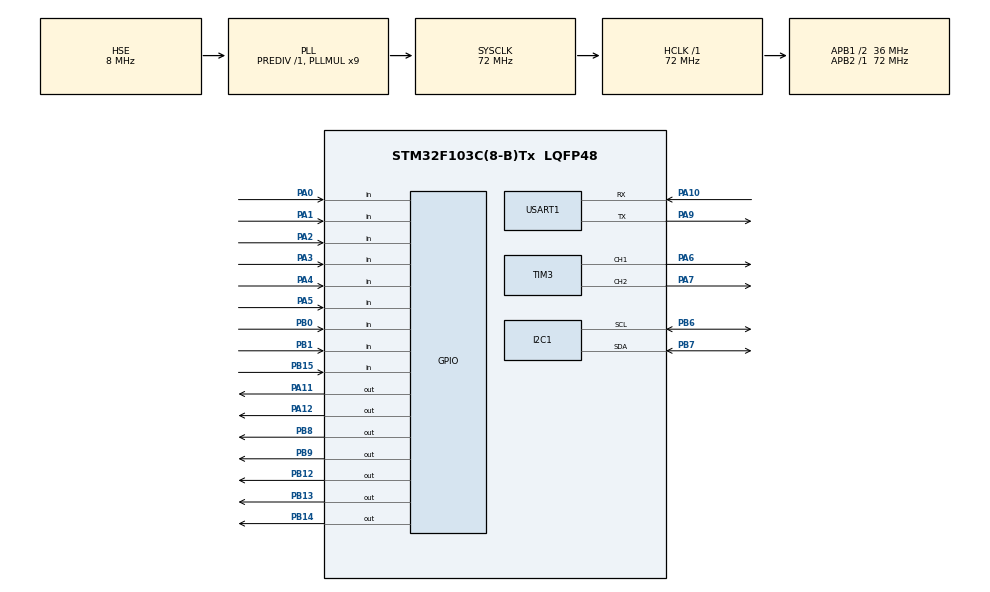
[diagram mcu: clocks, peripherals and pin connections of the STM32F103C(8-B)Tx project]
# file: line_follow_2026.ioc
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Mcu.Family=STM32F1
Mcu.Name=STM32F103C(8-B)Tx
Mcu.Package=LQFP48
NVIC.PriorityGroup=NVIC_PRIORITYGROUP_4
PA0-WKUP.Signal=GPIO_Input
PA1.Signal=GPIO_Input
PA10.Mode=Asynchronous
PA10.Signal=USART1_RX
PA11.Signal=GPIO_Output
PA12.Signal=GPIO_Output
PA13.Mode=Serial_Wire
PA13.Signal=SYS_JTMS-SWDIO
PA14.Mode=Serial_Wire
PA14.Signal=SYS_JTCK-SWCLK
PA2.Signal=GPIO_Input
PA3.Signal=GPIO_Input
PA4.Signal=GPIO_Input
PA5.Signal=GPIO_Input
PA6.Signal=S_TIM3_CH1
PA7.Signal=S_TIM3_CH2
PA9.Mode=Asynchronous
PA9.Signal=USART1_TX
PB0.Signal=GPIO_Input
PB1.Signal=GPIO_Input
PB12.Signal=GPIO_Output
PB13.Signal=GPIO_Output
PB14.Signal=GPIO_Output
PB15.Signal=GPIO_Input
PB6.Mode=I2C
PB6.Signal=I2C1_SCL
PB7.Mode=I2C
PB7.Signal=I2C1_SDA
PB8.Signal=GPIO_Output
PB9.Signal=GPIO_Output
PD0-OSC_IN.Mode=HSE-External-Oscillator
PD0-OSC_IN.Signal=RCC_OSC_IN
PD1-OSC_OUT.Mode=HSE-External-Oscillator
PD1-OSC_OUT.Signal=RCC_OSC_OUT
ProjectManager.HeapSize=0x200
ProjectManager.StackSize=0x400
ProjectManager.TargetToolchain=MDK-ARM V5
RCC.AHBFreq_Value=72000000
RCC.APB1CLKDivider=RCC_HCLK_DIV2
RCC.APB1Freq_Value=36000000
RCC.APB1TimFreq_Value=72000000
RCC.APB2Freq_Value=72000000
RCC.APB2TimFreq_Value=72000000
RCC.HCLKFreq_Value=72000000
RCC.PLLMUL=RCC_PLL_MUL9
RCC.PLLSourceVirtual=RCC_PLLSOURCE_HSE
RCC.SYSCLKFreq_VALUE=72000000
RCC.SYSCLKSource=RCC_SYSCLKSOURCE_PLLCLK
RCC.USBFreq_Value=72000000
SH.S_TIM3_CH1.0=TIM3_CH1,PWM Generation1 CH1
SH.S_TIM3_CH2.0=TIM3_CH2,PWM Generation2 CH2
TIM3.Channel-PWM\ Generation1\ CH1=TIM_CHANNEL_1
TIM3.Channel-PWM\ Generation2\ CH2=TIM_CHANNEL_2
USART1.VirtualMode=VM_ASYNC
board=custom

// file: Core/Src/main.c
/* USER CODE BEGIN Header */
/**
  ******************************************************************************
  * @file           : main.c
  * @brief          : Main program body
  ******************************************************************************
  * @attention
  *
  * Copyright (c) 2026 STMicroelectronics.
  * All rights reserved.
  *
  * This software is licensed under terms that can be found in the LICENSE file
  * in the root directory of this software component.
  * If no LICENSE file comes with this software, it is provided AS-IS.
  *
  ******************************************************************************
  */
/* USER CODE END Header */
#include "main.h"

/* USER CODE BEGIN Includes */
#include "bsp_led.h"
#include "bsp_key.h"
/* USER CODE END Includes */

I2C_HandleTypeDef hi2c1;

TIM_HandleTypeDef htim3;

UART_HandleTypeDef huart1;

void SystemClock_Config(void);
static void MX_GPIO_Init(void);
static void MX_I2C1_Init(void);
static void MX_TIM3_Init(void);
static void MX_USART1_UART_Init(void);

/* USER CODE BEGIN 0 */

typedef enum
{
  APP_LED_OFF = 0,
  APP_LED_ON,
  APP_LED_ALT
} app_led_mode_t;

static app_led_mode_t s_led_mode   = APP_LED_OFF;
static uint32_t       s_alt_start  = 0;
static uint32_t       s_alt_toggle = 0;
static uint8_t        s_alt_which  = 0;

static void App_Led_SetMode(app_led_mode_t mode)
{
  uint32_t now = HAL_GetTick();

  s_led_mode = mode;

  switch (mode)
  {
    case APP_LED_ON:
      LED_On(LED_ID_1);
      LED_Off(LED_ID_2);
      break;

    case APP_LED_ALT:
      s_alt_start  = now;
      s_alt_toggle = now;
      s_alt_which  = 0;
      LED_On(LED_ID_1);
      LED_Off(LED_ID_2);
      break;

    case APP_LED_OFF:
    default:
      LED_AllOff();
      break;
  }
}

static void App_SelfTest(void)
{
  for (uint32_t i = 0; i < SELFTEST_BLINK_TIMES; i++)
  {
    LED_On(LED_ID_1);
    LED_On(LED_ID_2);
    HAL_Delay(SELFTEST_HALF_MS);

    LED_Off(LED_ID_1);
    LED_Off(LED_ID_2);
    HAL_Delay(SELFTEST_HALF_MS);
  }
}

static void App_Led_Task(void)
{
  uint32_t now = HAL_GetTick();

  if (KEY_TakeEvent(KEY_ID_1, KEY_EVENT_CLICK))
  {
    if (s_led_mode == APP_LED_ON)
    {
      App_Led_SetMode(APP_LED_OFF);
    }
    else
    {
      App_Led_SetMode(APP_LED_ON);
    }
  }

  if (KEY_TakeEvent(KEY_ID_2, KEY_EVENT_CLICK))
  {
    App_Led_SetMode(APP_LED_ALT);
  }

  (void)KEY_TakeEvent(KEY_ID_3, KEY_EVENT_CLICK);

  if (KEY_TakeEvent(KEY_ID_4, KEY_EVENT_CLICK))
  {
    App_Led_SetMode(APP_LED_OFF);
  }

  if (s_led_mode == APP_LED_ALT)
  {
    if ((now - s_alt_start) >= (ALT_ROUND_MS * ALT_ROUNDS))
    {
      App_Led_SetMode(APP_LED_OFF);
      return;
    }

    if ((now - s_alt_toggle) >= ALT_HALF_MS)
    {
      s_alt_toggle = now;
      s_alt_which ^= 1u;

      if (s_alt_which)
      {
        LED_Off(LED_ID_1);
        LED_On(LED_ID_2);
      }
      else
      {
        LED_On(LED_ID_1);
        LED_Off(LED_ID_2);
      }
    }
  }
}

/* USER CODE END 0 */

int main(void)
{

  /* MCU Configuration--------------------------------------------------------*/

  /* Reset of all peripherals, Initializes the Flash interface and the Systick. */
  HAL_Init();

  /* Configure the system clock */
  SystemClock_Config();

  /* Initialize all configured peripherals */
  MX_GPIO_Init();
  MX_I2C1_Init();
  MX_TIM3_Init();
  MX_USART1_UART_Init();
  /* USER CODE BEGIN 2 */
  LED_Init();
  KEY_Init();
  App_SelfTest();
  /* USER CODE END 2 */

  /* Infinite loop */
  while (1)
  {

    /* USER CODE BEGIN 3 */
    KEY_Scan();
    App_Led_Task();
  }
  /* USER CODE END 3 */
}

void SystemClock_Config(void)
{
  RCC_OscInitTypeDef RCC_OscInitStruct = {0};
  RCC_ClkInitTypeDef RCC_ClkInitStruct = {0};

  /** Initializes the RCC Oscillators according to the specified parameters
  * in the RCC_OscInitTypeDef structure.
  */
  RCC_OscInitStruct.OscillatorType = RCC_OSCILLATORTYPE_HSE;
  RCC_OscInitStruct.HSEState = RCC_HSE_ON;
  RCC_OscInitStruct.HSEPredivValue = RCC_HSE_PREDIV_DIV1;
  RCC_OscInitStruct.HSIState = RCC_HSI_ON;
  RCC_OscInitStruct.PLL.PLLState = RCC_PLL_ON;
  RCC_OscInitStruct.PLL.PLLSource = RCC_PLLSOURCE_HSE;
  RCC_OscInitStruct.PLL.PLLMUL = RCC_PLL_MUL9;
  if (HAL_RCC_OscConfig(&RCC_OscInitStruct) != HAL_OK)
  {
    Error_Handler();
  }

  /** Initializes the CPU, AHB and APB buses clocks
  */
  RCC_ClkInitStruct.ClockType = RCC_CLOCKTYPE_HCLK|RCC_CLOCKTYPE_SYSCLK
                              |RCC_CLOCKTYPE_PCLK1|RCC_CLOCKTYPE_PCLK2;
  RCC_ClkInitStruct.SYSCLKSource = RCC_SYSCLKSOURCE_PLLCLK;
  RCC_ClkInitStruct.AHBCLKDivider = RCC_SYSCLK_DIV1;
  RCC_ClkInitStruct.APB1CLKDivider = RCC_HCLK_DIV2;
  RCC_ClkInitStruct.APB2CLKDivider = RCC_HCLK_DIV1;

  if (HAL_RCC_ClockConfig(&RCC_ClkInitStruct, FLASH_LATENCY_2) != HAL_OK)
  {
    Error_Handler();
  }
}

static void MX_I2C1_Init(void)
{

  hi2c1.Instance = I2C1;
  hi2c1.Init.ClockSpeed = 100000;
  hi2c1.Init.DutyCycle = I2C_DUTYCYCLE_2;
  hi2c1.Init.OwnAddress1 = 0;
  hi2c1.Init.AddressingMode = I2C_ADDRESSINGMODE_7BIT;
  hi2c1.Init.DualAddressMode = I2C_DUALADDRESS_DISABLE;
  hi2c1.Init.OwnAddress2 = 0;
  hi2c1.Init.GeneralCallMode = I2C_GENERALCALL_DISABLE;
  hi2c1.Init.NoStretchMode = I2C_NOSTRETCH_DISABLE;
  if (HAL_I2C_Init(&hi2c1) != HAL_OK)
  {
    Error_Handler();
  }

}

static void MX_TIM3_Init(void)
{

  TIM_MasterConfigTypeDef sMasterConfig = {0};
  TIM_OC_InitTypeDef sConfigOC = {0};

  htim3.Instance = TIM3;
  htim3.Init.Prescaler = 0;
  htim3.Init.CounterMode = TIM_COUNTERMODE_UP;
  htim3.Init.Period = 65535;
  htim3.Init.ClockDivision = TIM_CLOCKDIVISION_DIV1;
  htim3.Init.AutoReloadPreload = TIM_AUTORELOAD_PRELOAD_DISABLE;
  if (HAL_TIM_PWM_Init(&htim3) != HAL_OK)
  {
    Error_Handler();
  }
  sMasterConfig.MasterOutputTrigger = TIM_TRGO_RESET;
  sMasterConfig.MasterSlaveMode = TIM_MASTERSLAVEMODE_DISABLE;
  if (HAL_TIMEx_MasterConfigSynchronization(&htim3, &sMasterConfig) != HAL_OK)
  {
    Error_Handler();
  }
  sConfigOC.OCMode = TIM_OCMODE_PWM1;
  sConfigOC.Pulse = 0;
  sConfigOC.OCPolarity = TIM_OCPOLARITY_HIGH;
  sConfigOC.OCFastMode = TIM_OCFAST_DISABLE;
  if (HAL_TIM_PWM_ConfigChannel(&htim3, &sConfigOC, TIM_CHANNEL_1) != HAL_OK)
  {
    Error_Handler();
  }
  if (HAL_TIM_PWM_ConfigChannel(&htim3, &sConfigOC, TIM_CHANNEL_2) != HAL_OK)
  {
    Error_Handler();
  }
  HAL_TIM_MspPostInit(&htim3);

}

static void MX_USART1_UART_Init(void)
{

  huart1.Instance = USART1;
  huart1.Init.BaudRate = 115200;
  huart1.Init.WordLength = UART_WORDLENGTH_8B;
  huart1.Init.StopBits = UART_STOPBITS_1;
  huart1.Init.Parity = UART_PARITY_NONE;
  huart1.Init.Mode = UART_MODE_TX_RX;
  huart1.Init.HwFlowCtl = UART_HWCONTROL_NONE;
  huart1.Init.OverSampling = UART_OVERSAMPLING_16;
  if (HAL_UART_Init(&huart1) != HAL_OK)
  {
    Error_Handler();
  }

}

static void MX_GPIO_Init(void)
{
  GPIO_InitTypeDef GPIO_InitStruct = {0};

  /* GPIO Ports Clock Enable */
  __HAL_RCC_GPIOD_CLK_ENABLE();
  __HAL_RCC_GPIOA_CLK_ENABLE();
  __HAL_RCC_GPIOB_CLK_ENABLE();

  /*Configure GPIO pin Output Level */
  HAL_GPIO_WritePin(GPIOB, GPIO_PIN_12|GPIO_PIN_13|GPIO_PIN_14|GPIO_PIN_8
                          |GPIO_PIN_9, GPIO_PIN_RESET);

  /*Configure GPIO pin Output Level */
  HAL_GPIO_WritePin(GPIOA, GPIO_PIN_11|GPIO_PIN_12, GPIO_PIN_RESET);

  /*Configure GPIO pins : PA0 PA1 PA2 PA3
                           PA4 PA5 */
  GPIO_InitStruct.Pin = GPIO_PIN_0|GPIO_PIN_1|GPIO_PIN_2|GPIO_PIN_3
                          |GPIO_PIN_4|GPIO_PIN_5;
  GPIO_InitStruct.Mode = GPIO_MODE_INPUT;
  GPIO_InitStruct.Pull = GPIO_NOPULL;
  HAL_GPIO_Init(GPIOA, &GPIO_InitStruct);

  /*Configure GPIO pins : PB0 PB1 PB15 */
  GPIO_InitStruct.Pin = GPIO_PIN_0|GPIO_PIN_1|GPIO_PIN_15;
  GPIO_InitStruct.Mode = GPIO_MODE_INPUT;
  GPIO_InitStruct.Pull = GPIO_NOPULL;
  HAL_GPIO_Init(GPIOB, &GPIO_InitStruct);

  /*Configure GPIO pins : PB12 PB13 PB14 PB8
                           PB9 */
  GPIO_InitStruct.Pin = GPIO_PIN_12|GPIO_PIN_13|GPIO_PIN_14|GPIO_PIN_8
                          |GPIO_PIN_9;
  GPIO_InitStruct.Mode = GPIO_MODE_OUTPUT_PP;
  GPIO_InitStruct.Pull = GPIO_NOPULL;
  GPIO_InitStruct.Speed = GPIO_SPEED_FREQ_LOW;
  HAL_GPIO_Init(GPIOB, &GPIO_InitStruct);

  /*Configure GPIO pins : PA11 PA12 */
  GPIO_InitStruct.Pin = GPIO_PIN_11|GPIO_PIN_12;
  GPIO_InitStruct.Mode = GPIO_MODE_OUTPUT_PP;
  GPIO_InitStruct.Pull = GPIO_NOPULL;
  GPIO_InitStruct.Speed = GPIO_SPEED_FREQ_LOW;
  HAL_GPIO_Init(GPIOA, &GPIO_InitStruct);

}

void Error_Handler(void)
{
  __disable_irq();
  while (1)
  {
  }
}
